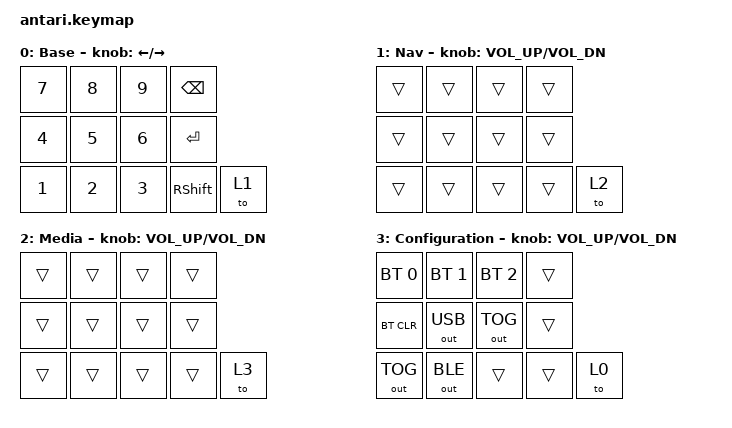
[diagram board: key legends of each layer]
/*
 * Copyright (c) 2020 The ZMK Contributors
 *
 * SPDX-License-Identifier: MIT
 */

#include <behaviors.dtsi>
#include <dt-bindings/zmk/bt.h>
#include <dt-bindings/zmk/keys.h>
#include <dt-bindings/zmk/outputs.h>

#define FRST  0
#define SCND  1
#define THRD  2
#define FRTH  3

/ {
    keymap {
        compatible = "zmk,keymap";

        base_layer {
            label = "Base";
            bindings = <
&kp N7        &kp N8        &kp N9        &kp BACKSPACE
&kp NUMBER_4  &kp N5        &kp NUMBER_6  &kp ENTER
&kp NUMBER_1  &kp NUMBER_2  &kp NUMBER_3  &kp RIGHT_SHIFT  &to 1
            >;

            sensor-bindings = <&inc_dec_kp LEFT_ARROW RIGHT_ARROW>;
        };

        nav_layer {
            label = "Nav";
            bindings = <
&trans  &trans  &trans  &trans
&trans  &trans  &trans  &trans
&trans  &trans  &trans  &trans  &to 2
            >;

            sensor-bindings = <&inc_dec_kp C_VOL_UP C_VOL_DN>;
        };

        media_layer {
            label = "Media";
            bindings = <
&trans  &trans  &trans  &trans
&trans  &trans  &trans  &trans
&trans  &trans  &trans  &trans  &to 3
            >;

            sensor-bindings = <&inc_dec_kp C_VOL_UP C_VOL_DN>;
        };

        configuration_layer {
            label = "Configuration";
            bindings = <
&bt BT_SEL 0  &bt BT_SEL 1  &bt BT_SEL 2  &trans
&bt BT_CLR    &out OUT_USB  &out OUT_TOG  &trans
&out OUT_TOG  &out OUT_BLE  &trans        &trans  &to 0
            >;

            sensor-bindings = <&inc_dec_kp C_VOL_UP C_VOL_DN>;
        };
    };
};
